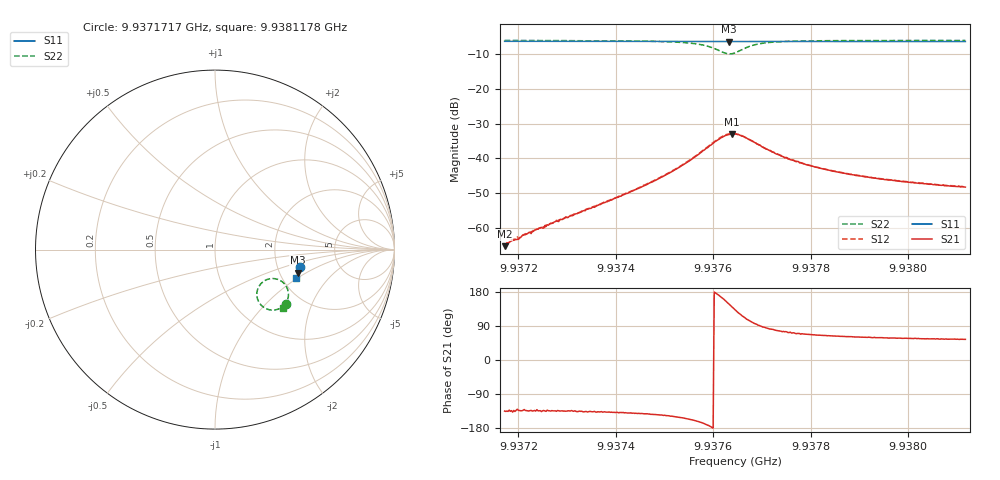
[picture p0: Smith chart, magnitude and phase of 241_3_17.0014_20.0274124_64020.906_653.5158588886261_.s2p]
#  HZ  S  RI  R  50.00
! Rohde & Schwarz Vector Network Analyzer
! Rohde-Schwarz,ZNB20-2Port,1311601062101988,3.16
! Created: UTC 3/20/2024, 11:02:53 PM
! freq[Hz]  re:S11  im:S11  re:S21  im:S21  re:S12  im:S12  re:S22  im:S22
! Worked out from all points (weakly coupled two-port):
!   401 points, 9.9371717 GHz to 9.9381178 GHz, reference 50 ohm
!   highest |S21| = -32.94 dB at 9.9376376 GHz (marker M1); lowest = -65.2 dB at 9.9371717 GHz (marker M2)
!   lowest |S11| = -6.4 dB at 9.9376329 GHz (marker M3), VSWR 2.84, Z = 126 - j41.8 ohm
!   |S11| at or under -10 dB: nowhere
!   |S22| runs from -9.9 to -6.1 dB; largest |S21 - S12| = 0.00098
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9.9371717e9  0.4739 -0.0985  -0.000385 -0.000388  -0.000406 -0.000409  0.3958 -0.3018
9.93718589e9  0.4736 -0.0995  -0.000449 -0.000472  -0.000491 -0.000464  0.3946 -0.3029
9.93720008e9  0.4734 -0.1004  -0.000467 -0.000499  -0.000511 -0.00047  0.3937 -0.304
9.9372119e9  0.473 -0.1012  -0.000519 -0.000602  -0.000566 -0.000576  0.3925 -0.3049
9.93723792e9  0.4726 -0.1029  -0.000631 -0.000722  -0.000696 -0.000659  0.3903 -0.3069
9.93733017e9  0.4706 -0.1091  -0.00122 -0.00121  -0.00129 -0.00119  0.381 -0.315
9.93742714e9  0.4687 -0.1158  -0.00247 -0.00208  -0.00253 -0.0021  0.3657 -0.3254
9.93748864e9  0.4673 -0.12  -0.0042 -0.00297  -0.00433 -0.00295  0.3476 -0.333
9.93754304e9  0.4657 -0.1237  -0.00765 -0.00374  -0.00786 -0.00367  0.3167 -0.337
9.93758325e9  0.4643 -0.1262  -0.0132 -0.00259  -0.0135 -0.00232  0.2715 -0.3219
9.93761636e9  0.4626 -0.1277  -0.0193 0.00486  -0.0195 0.0055  0.2333 -0.2543
9.93763292e9  0.4621 -0.1279  -0.0185 0.012  -0.0187 0.0129  0.2491 -0.1986
9.93763765e9  0.4621 -0.128  -0.0176 0.0141  -0.0172 0.0149  0.261 -0.185
9.93764474e9  0.462 -0.1282  -0.0152 0.0165  -0.0148 0.0171  0.283 -0.1698
9.93765657e9  0.4624 -0.1285  -0.0106 0.0185  -0.01 0.0192  0.3229 -0.1611
9.93767076e9  0.4627 -0.1295  -0.0054 0.0184  -0.00475 0.0187  0.3622 -0.1712
9.93769915e9  0.4628 -0.1314  0.000311 0.0148  0.000644 0.0149  0.3996 -0.2093
9.93774409e9  0.462 -0.135  0.00265 0.0102  0.00288 0.0102  0.4094 -0.2513
9.93780322e9  0.4611 -0.139  0.00303 0.00711  0.00319 0.00711  0.4046 -0.2789
9.93787654e9  0.4591 -0.1441  0.00283 0.00526  0.00297 0.00526  0.397 -0.2966
9.93796169e9  0.457 -0.1496  0.0026 0.00416  0.00267 0.00414  0.3892 -0.3091
9.9381178e9  0.4529 -0.1599  0.00225 0.00315  0.00234 0.00315  0.3774 -0.324
